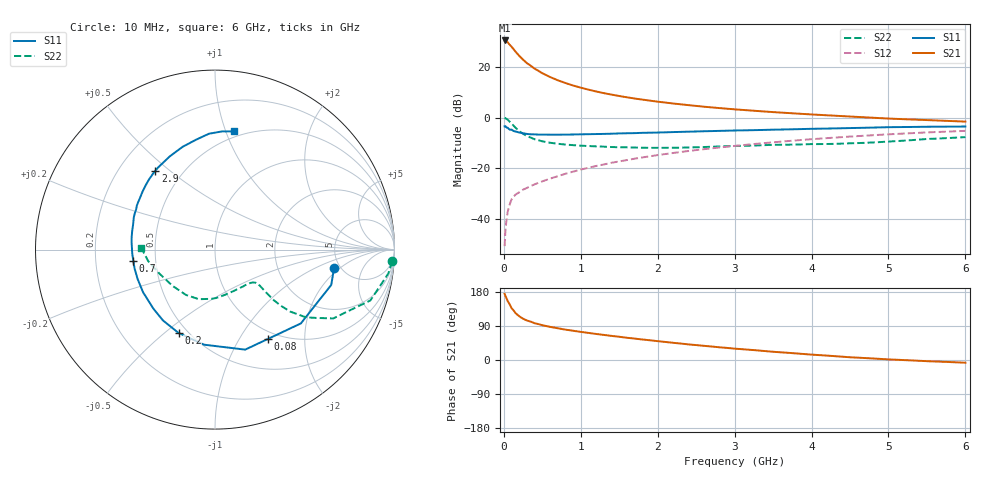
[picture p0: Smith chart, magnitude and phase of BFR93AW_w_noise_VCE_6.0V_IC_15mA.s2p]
! (c) 2017  Infineon Technologies AG, Munich
! Infineon Technologies  Discrete & RF Semiconductors
! BFR93AW
! VCE =  6.0 V,  IC =  15 mA
! Common Emitter S-Parameters:  Jan 2017
# GHz  S  MA  R  50
!  f  S11  S21  S12  S22
! GHz  MAG  ANG  MAG  ANG  MAG  ANG  MAG  ANG
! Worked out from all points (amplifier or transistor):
!   77 points, 10 MHz to 6 GHz, reference 50 ohm
!   highest |S21| = 30.4 dB at 10 MHz (marker M1)
!   |S21| within 3 dB of that: start of sweep to 114.8 MHz
!   unconditionally stable (mu >= 1): 739 MHz to 2.075 GHz
!   at 130 MHz: K = 0.38, MSG = 29.0 dB, |S12| = -31.2 dB
!   at 2.2 GHz: K = 0.99, MSG = 9.8 dB, |S12| = -14.0 dB
!   at 6 GHz: K = 0.87, MSG = 1.8 dB, |S12| = -5.2 dB
!   lowest NFmin = 1.37 dB at 450 MHz
!   S11 on the Smith chart (normalised r, x): 10 MHz: 4.46, -1.63; 80 MHz: 0.89, -1.33; 200 MHz: 0.45, -0.56; 700 MHz: 0.37, -0.06; 2.9 GHz: 0.35, +0.45; 6 GHz: 0.45, +1.07
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0.01  0.6714 -8.6  33.27 174.5  0.0029 85.1  0.989 -3.8
0.02  0.6769 -16.9  33.17 169.6  0.0056 88.1  0.9752 -7.8
0.05  0.6309 -40.7  30.61 155.3  0.0137 72.5  0.911 -18.1
0.08  0.5782 -59.6  26.96 145.1  0.02 65.0  0.8174 -24.8
0.1  0.5821 -73.2  25.11 136.8  0.0243 62.2  0.7625 -30.2
0.15  0.5333 -96.6  20.21 124.1  0.0301 56.6  0.6348 -36.6
0.2  0.507 -113.6  16.53 115.4  0.0335 55.3  0.5426 -39.5
0.25  0.4896 -126.3  13.9 108.9  0.0378 54.5  0.479 -40.5
0.3  0.4758 -136.0  11.89 104.2  0.041 55.3  0.4313 -40.7
0.4  0.466 -149.2  9.242 97.0  0.0482 57.9  0.3738 -40.0
0.5  0.4613 -159.0  7.501 91.8  0.0551 59.6  0.3401 -39.3
0.6  0.4603 -166.6  6.33 87.5  0.0624 61.3  0.3188 -38.8
0.7  0.4597 -172.4  5.459 83.8  0.0695 63.4  0.3044 -38.7
0.9  0.4636 177.9  4.291 77.2  0.0856 64.9  0.2858 -40.0
1.1  0.4702 170.5  3.557 71.5  0.1022 66.2  0.2745 -42.2
1.5  0.4867 158.4  2.662 61.3  0.1364 66.5  0.2595 -49.9
2.1  0.5118 143.4  1.978 47.6  0.1909 64.1  0.253 -66.8
2.9  0.551 127.0  1.497 31.9  0.2663 58.6  0.272 -91.4
3.1  0.5593 123.1  1.418 28.5  0.2857 56.8  0.2769 -97.1
4.1  0.6036 105.9  1.132 12.9  0.3838 47.1  0.2999 -126.0
5.1  0.6484 91.7  0.943 0.7  0.4755 35.8  0.343 -159.4
6  0.667 80.9  0.833 -7.1  0.5467 25.3  0.4115 178.6
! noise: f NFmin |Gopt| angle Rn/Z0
0.45  1.37  0.12  133  0.13
0.9  1.66  0.23  164  0.14
1.9  2.67  0.47  -144  0.2
2.4  3.3  0.54  -129  0.4
